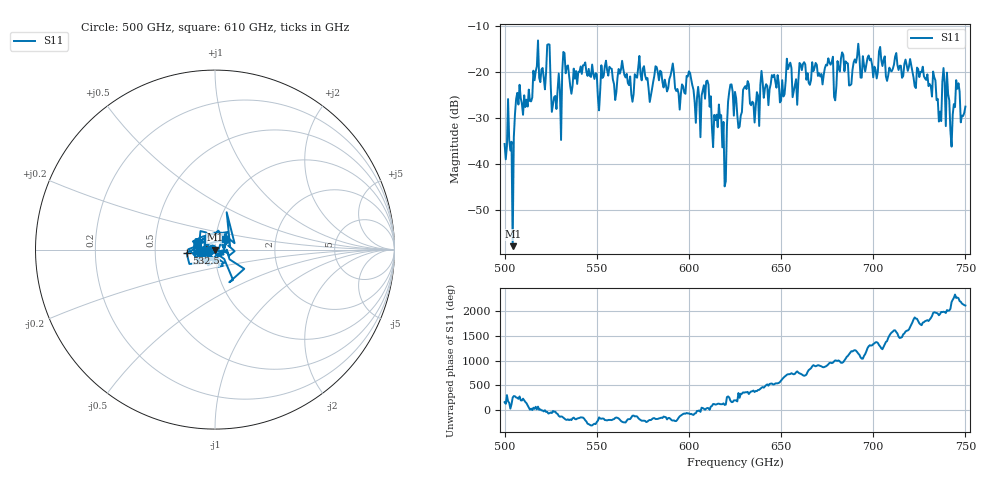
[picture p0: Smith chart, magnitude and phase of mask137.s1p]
!Created with skrf (http://scikit-rf.org).
# GHz S MA R 50.0
!freq magS11 angS11
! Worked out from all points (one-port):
!   401 points, 500 GHz to 750 GHz, reference 50 ohm
!   lowest |S11| = -57.8 dB at 504.4 GHz (marker M1), VSWR 1.00, Z = 50 - j0.125 ohm
!   |S11| at or under -10 dB: start of sweep to end of sweep
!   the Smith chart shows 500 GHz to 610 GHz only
!   S11 on the Smith chart (normalised r, x): 500 GHz: 0.97, +0.01; 532.5 GHz: 0.73, -0.03; 610 GHz: 1.11, +0.13
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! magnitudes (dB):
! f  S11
! 500 GHz  -35.6
! 504.4 GHz  -57.8
! 506.9 GHz  -24.6
! 513.8 GHz  -26.4
! 516.9 GHz  -19.9
! 523.8 GHz  -14.0
! 526.9 GHz  -25.5
! 531.2 GHz  -20.2
! 532.5 GHz  -16.0
! 550.6 GHz  -25.6
! 562.5 GHz  -20.4
! 579.4 GHz  -25.2
! 590.6 GHz  -19.7
! 593.8 GHz  -23.7
! 610 GHz  -21.9
! 619.4 GHz  -44.8
! 622.5 GHz  -22.8
! 625 GHz  -24.4
! 656.2 GHz  -25.5
! 687.5 GHz  -22.9
! 691.2 GHz  -16.7
! 718.8 GHz  -19.8
! 733.8 GHz  -21.9
! 735.6 GHz  -30.8
! 738.8 GHz  -22.4
! 743.1 GHz  -29.3
! 745.6 GHz  -23.7
! 750 GHz  -27.6
